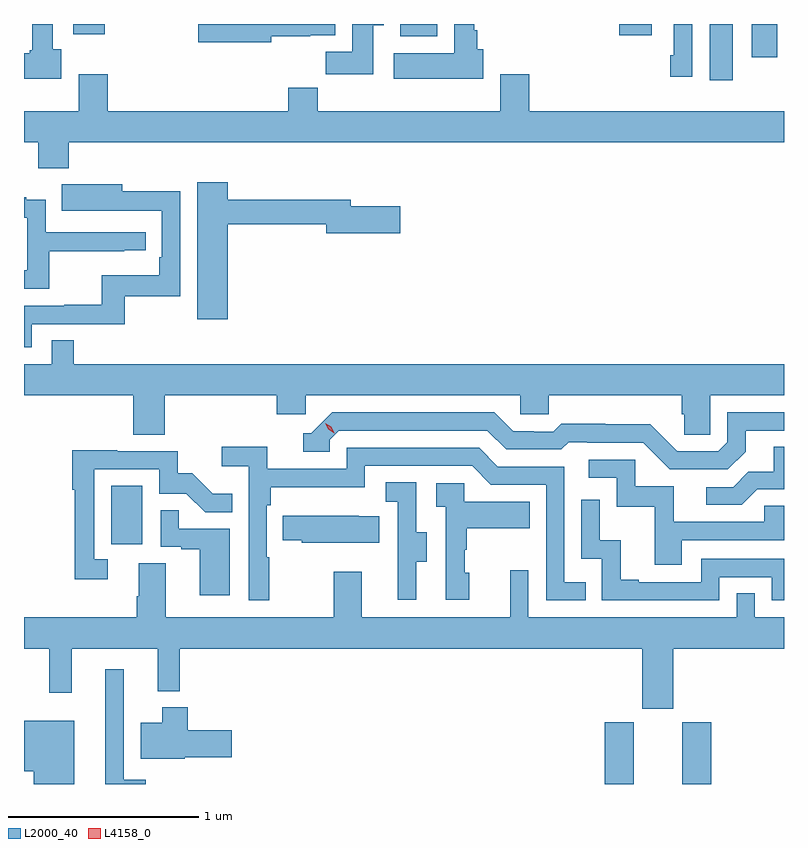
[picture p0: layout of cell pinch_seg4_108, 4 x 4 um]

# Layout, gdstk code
import gdstk
lib = gdstk.Library(unit=1e-6, precision=1e-09)
def R(c, l, rs):  # rectangles x0, y0, x1, y1
    for r in rs: c.add(gdstk.rectangle(r[:2], r[2:], *l))
def P(c, l, *ps):  # polygons
    for p in ps: c.add(gdstk.Polygon(p, *l))
L2000_40 = (2000, 40)
L4158_0 = (4158, 0)

pinch_seg4_108 = lib.new_cell('pinch_seg4_108')
R(pinch_seg4_108, L2000_40, [(1060.802,800.103,1060.954,800.427), (1061.21,800.103,1061.363,800.427), (1058.204,801.366,1058.368,801.673), (1061.354,803.808,1061.476,804.103), (1061.576,803.928,1061.71,804.103), (1059.725,804.038,1059.922,804.103), (1060.88,804.045,1061.05,804.103), (1058.006,804.048,1058.172,804.103)])
P(pinch_seg4_108, L2000_40, [(1057.942,803.97),(1057.897,803.97),(1057.897,804.103),(1057.79,804.103),(1057.79,803.964),(1057.777,803.964),(1057.777,803.95),(1057.746,803.95),(1057.746,803.816),(1057.942,803.816)],
  [(1059.583,804.097),(1059.64,804.097),(1059.64,804.103),(1059.473,804.103),(1059.473,803.956),(1059.334,803.956),(1059.334,803.838),(1059.583,803.838)],
  [(1059.048,804.038),(1059.252,804.038),(1059.252,804.044),(1059.385,804.044),(1059.385,804.103),(1058.664,804.103),(1058.664,804.007),(1059.048,804.007)],
  [(1061.262,804.103),(1061.166,804.103),(1061.166,803.938),(1061.146,803.938),(1061.146,803.826),(1061.262,803.826)],
  [(1060.162,803.97),(1060.132,803.97),(1060.132,804.07),(1060.117,804.07),(1060.117,804.103),(1060.01,804.103),(1060.01,803.95),(1059.693,803.95),(1059.693,803.816),(1060.162,803.816)],
  [(1057.982,803.48),(1061.746,803.48),(1061.746,803.644),(1060.406,803.644),(1060.406,803.839),(1060.253,803.839),(1060.253,803.644),(1059.293,803.644),(1059.293,803.768),(1059.137,803.768),(1059.137,803.644),(1058.186,803.644),(1058.186,803.839),(1058.033,803.839),(1058.033,803.644),(1057.746,803.644),(1057.746,803.48),(1057.822,803.48),(1057.822,803.345),(1057.982,803.345)],
  [(1058.818,803.05),(1059.338,803.05),(1059.338,803.003),(1059.727,803.003),(1059.727,803.145),(1059.466,803.145),(1059.466,803.179),(1058.818,803.179),(1058.818,803.269),(1058.657,803.269),(1058.657,802.548),(1058.818,802.548)],
  [(1057.788,802.524),(1058.275,802.524),(1058.275,802.671),(1058.568,802.671),(1058.568,803.222),(1058.263,803.222),(1058.263,803.26),(1057.945,803.26),(1057.945,803.12),(1058.159,803.12),(1058.159,803.121),(1058.472,803.121),(1058.472,802.876),(1058.459,802.876),(1058.459,802.78),(1058.154,802.78),(1058.154,802.625),(1057.957,802.625),(1057.957,802.62),(1057.746,802.62),(1057.746,802.401),(1057.788,802.401)],
  [(1057.88,802.906),(1058.273,802.906),(1058.273,802.911),(1058.386,802.911),(1058.386,803.007),(1057.86,803.007),(1057.86,803.179),(1057.757,803.179),(1057.757,803.191),(1057.746,803.191),(1057.746,803.082),(1057.764,803.082),(1057.764,802.806),(1057.746,802.806),(1057.746,802.71),(1057.88,802.71)],
  [(1058.486,802.148),(1059.077,802.148),(1059.077,802.05),(1059.228,802.05),(1059.228,802.148),(1060.359,802.148),(1060.359,802.05),(1060.509,802.05),(1060.509,802.148),(1061.207,802.148),(1061.207,802.05),(1061.221,802.05),(1061.221,801.94),(1061.358,801.94),(1061.358,802.148),(1061.746,802.148),(1061.746,802.312),(1058.009,802.312),(1058.009,802.439),(1057.893,802.439),(1057.893,802.312),(1057.746,802.312),(1057.746,802.148),(1058.321,802.148),(1058.321,801.94),(1058.486,801.94)],
  [(1061.545,801.853),(1061.545,801.963),(1061.746,801.963),(1061.746,802.059),(1061.448,802.059),(1061.448,801.903),(1061.4,801.855),(1061.184,801.855),(1061.042,801.997),(1060.806,801.997),(1060.806,802),(1060.573,802),(1060.531,801.957),(1060.428,801.957),(1060.428,801.96),(1060.321,801.96),(1060.222,802.059),(1059.369,802.059),(1059.258,801.948),(1059.215,801.948),(1059.215,801.852),(1059.354,801.852),(1059.354,801.915),(1059.402,801.963),(1060.185,801.963),(1060.284,801.864),(1060.573,801.864),(1060.612,801.903),(1060.711,801.903),(1060.711,801.9),(1061.004,801.9),(1061.145,801.759),(1061.451,801.759)],
  [(1061.605,801.654),(1061.746,801.654),(1061.746,801.878),(1061.693,801.878),(1061.693,801.746),(1061.558,801.746),(1061.478,801.666),(1061.337,801.666),(1061.337,801.573),(1061.524,801.573)],
  [(1059.037,801.296),(1059.024,801.296),(1059.024,801.569),(1059.044,801.569),(1059.044,801.665),(1059.54,801.665),(1059.54,801.777),(1060.104,801.777),(1060.203,801.678),(1060.494,801.678),(1060.494,801.069),(1060.703,801.069),(1060.703,801.165),(1060.59,801.165),(1060.59,801.774),(1060.24,801.774),(1060.141,801.873),(1059.444,801.873),(1059.444,801.762),(1059.026,801.762),(1059.026,801.878),(1058.787,801.878),(1058.787,801.776),(1058.928,801.776),(1058.928,801.069),(1059.037,801.069)],
  [(1058.188,801.285),(1058.115,801.285),(1058.115,801.759),(1058.457,801.759),(1058.457,801.63),(1058.601,801.63),(1058.699,801.532),(1058.843,801.532),(1058.843,801.631),(1058.739,801.631),(1058.632,801.738),(1058.556,801.738),(1058.556,801.855),(1058.237,801.855),(1058.237,801.86),(1057.999,801.86),(1057.999,801.652),(1058.014,801.652),(1058.014,801.18),(1058.188,801.18)],
  [(1061.209,801.387),(1061.746,801.387),(1061.746,801.567),(1061.641,801.567),(1061.641,801.483),(1061.167,801.483),(1061.167,801.669),(1060.962,801.669),(1060.962,801.81),(1060.719,801.81),(1060.719,801.714),(1060.866,801.714),(1060.866,801.561),(1061.065,801.561),(1061.065,801.258),(1061.209,801.258)],
  [(1059.811,801.274),(1059.865,801.274),(1059.865,801.429),(1059.81,801.429),(1059.81,801.692),(1059.651,801.692),(1059.651,801.589),(1059.714,801.589),(1059.714,801.285),(1059.713,801.285),(1059.713,801.072),(1059.811,801.072)],
  [(1060.09,801.216),(1060.065,801.216),(1060.065,801.335),(1060.075,801.335),(1060.075,801.449),(1060.409,801.449),(1060.409,801.589),(1060.062,801.589),(1060.062,801.687),(1059.915,801.687),(1059.915,801.563),(1059.966,801.563),(1059.966,801.072),(1060.09,801.072)],
  [(1061.406,801.192),(1061.682,801.192),(1061.682,801.069),(1061.746,801.069),(1061.746,801.288),(1061.31,801.288),(1061.31,801.165),(1060.981,801.165),(1060.981,801.178),(1060.886,801.178),(1060.886,801.386),(1060.776,801.386),(1060.776,801.598),(1060.68,801.598),(1060.68,801.288),(1060.788,801.288),(1060.788,801.069),(1061.406,801.069)],
  [(1058.83,801.447),(1058.561,801.447),(1058.561,801.545),(1058.466,801.545),(1058.466,801.351),(1058.573,801.351),(1058.573,801.339),(1058.672,801.339),(1058.672,801.096),(1058.83,801.096)],
  [(1059.617,801.511),(1059.509,801.511),(1059.509,801.514),(1059.109,801.514),(1059.109,801.385),(1059.207,801.385),(1059.207,801.374),(1059.617,801.374)],
  [(1061.164,800.816),(1061.746,800.816),(1061.746,800.98),(1061.592,800.98),(1061.592,801.107),(1061.496,801.107),(1061.496,800.98),(1060.401,800.98),(1060.401,801.229),(1060.304,801.229),(1060.304,800.98),(1059.523,800.98),(1059.523,801.22),(1059.376,801.22),(1059.376,800.98),(1058.491,800.98),(1058.491,801.266),(1058.351,801.266),(1058.351,801.092),(1058.339,801.092),(1058.339,800.98),(1057.746,800.98),(1057.746,800.816),(1057.879,800.816),(1057.879,800.583),(1057.997,800.583),(1057.997,800.816),(1058.45,800.816),(1058.45,800.591),(1058.567,800.591),(1058.567,800.816),(1061,800.816),(1061,800.499),(1061.164,800.499)],
  [(1058.386,800.125),(1058.271,800.125),(1058.271,800.707),(1058.174,800.707),(1058.174,800.103),(1058.386,800.103)],
  [(1058.592,800.243),(1058.839,800.243),(1058.839,800.385),(1058.609,800.385),(1058.609,800.506),(1058.474,800.506),(1058.474,800.425),(1058.36,800.425),(1058.36,800.237),(1058.592,800.237)],
  [(1058.011,800.437),(1057.746,800.437),(1057.746,800.171),(1057.796,800.171),(1057.796,800.103),(1058.011,800.103)])
P(pinch_seg4_108, L4158_0, [(1059.379,801.95),(1059.348,801.969),(1059.331,802.001),(1059.331,802.002),(1059.332,802.002),(1059.363,801.983),(1059.38,801.951),(1059.38,801.95)])

lib.write_gds('pinch_seg4_108.gds')
